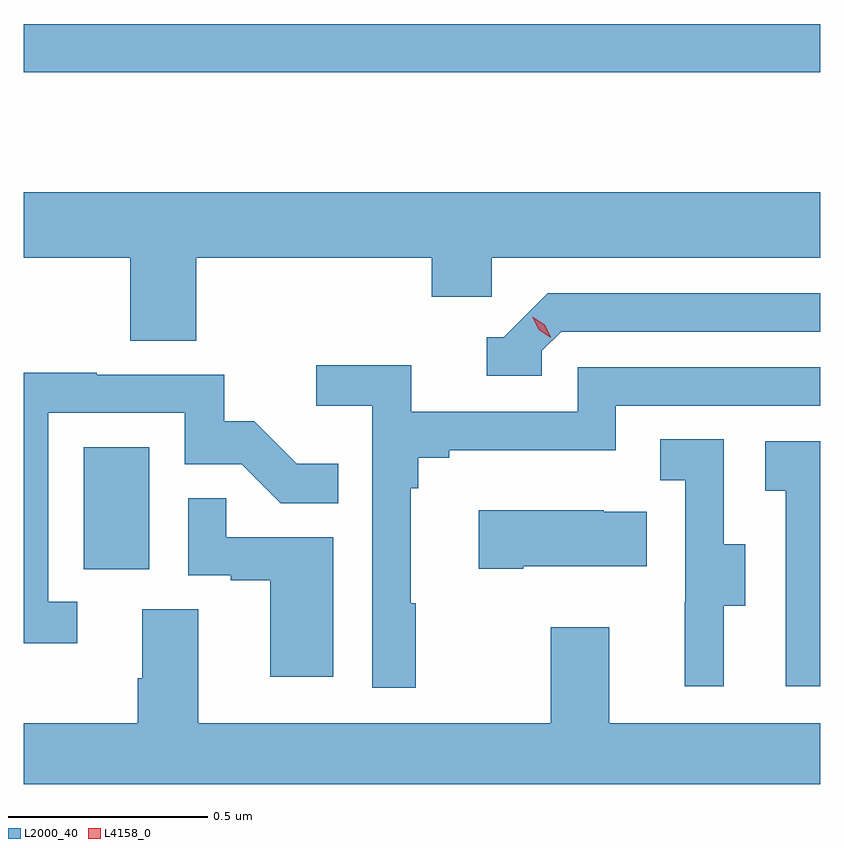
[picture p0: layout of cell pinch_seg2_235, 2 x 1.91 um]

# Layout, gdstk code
import gdstk
lib = gdstk.Library(unit=1e-6, precision=1e-09)
def R(c, l, rs):  # rectangles x0, y0, x1, y1
    for r in rs: c.add(gdstk.rectangle(r[:2], r[2:], *l))
def P(c, l, *ps):  # polygons
    for p in ps: c.add(gdstk.Polygon(p, *l))
L2000_40 = (2000, 40)
L4158_0 = (4158, 0)

pinch_seg2_235 = lib.new_cell('pinch_seg2_235')
R(pinch_seg2_235, L2000_40, [(994.934,646.854,995.098,647.161), (994.783,648.102,996.783,648.223)])
P(pinch_seg2_235, L2000_40, [(995.216,647.636),(995.807,647.636),(995.807,647.538),(995.958,647.538),(995.958,647.636),(996.783,647.636),(996.783,647.8),(994.783,647.8),(994.783,647.636),(995.051,647.636),(995.051,647.428),(995.216,647.428)],
  [(996.084,647.403),(996.132,647.451),(996.783,647.451),(996.783,647.547),(996.099,647.547),(995.988,647.436),(995.945,647.436),(995.945,647.34),(996.084,647.34)],
  [(995.767,646.769),(995.755,646.769),(995.755,647.057),(995.774,647.057),(995.774,647.134),(995.851,647.134),(995.851,647.153),(996.27,647.153),(996.27,647.265),(996.783,647.265),(996.783,647.361),(996.174,647.361),(996.174,647.25),(995.756,647.25),(995.756,647.366),(995.517,647.366),(995.517,647.264),(995.658,647.264),(995.658,646.557),(995.767,646.557)],
  [(994.918,646.773),(994.845,646.773),(994.845,647.247),(995.187,647.247),(995.187,647.118),(995.331,647.118),(995.429,647.02),(995.573,647.02),(995.573,647.119),(995.469,647.119),(995.362,647.226),(995.286,647.226),(995.286,647.343),(994.967,647.343),(994.967,647.348),(994.783,647.348),(994.783,646.668),(994.918,646.668)],
  [(996.541,646.762),(996.595,646.762),(996.595,646.917),(996.54,646.917),(996.54,647.18),(996.381,647.18),(996.381,647.077),(996.444,647.077),(996.444,646.773),(996.443,646.773),(996.443,646.56),(996.541,646.56)],
  [(996.783,647.175),(996.645,647.175),(996.645,647.051),(996.696,647.051),(996.696,646.56),(996.783,646.56)],
  [(995.56,646.935),(995.291,646.935),(995.291,647.033),(995.196,647.033),(995.196,646.839),(995.303,646.839),(995.303,646.827),(995.402,646.827),(995.402,646.584),(995.56,646.584)],
  [(996.037,646.862),(996.347,646.862),(996.347,646.999),(996.239,646.999),(996.239,647.002),(995.925,647.002),(995.925,646.855),(996.037,646.855)],
  [(996.783,646.468),(996.253,646.468),(996.253,646.708),(996.106,646.708),(996.106,646.468),(995.221,646.468),(995.221,646.754),(995.081,646.754),(995.081,646.58),(995.069,646.58),(995.069,646.468),(994.783,646.468),(994.783,646.315),(996.783,646.315)])
P(pinch_seg2_235, L4158_0, [(996.106,647.435),(996.076,647.455),(996.06,647.488),(996.06,647.488),(996.06,647.488),(996.091,647.468),(996.106,647.436),(996.106,647.435)])

lib.write_gds('pinch_seg2_235.gds')
